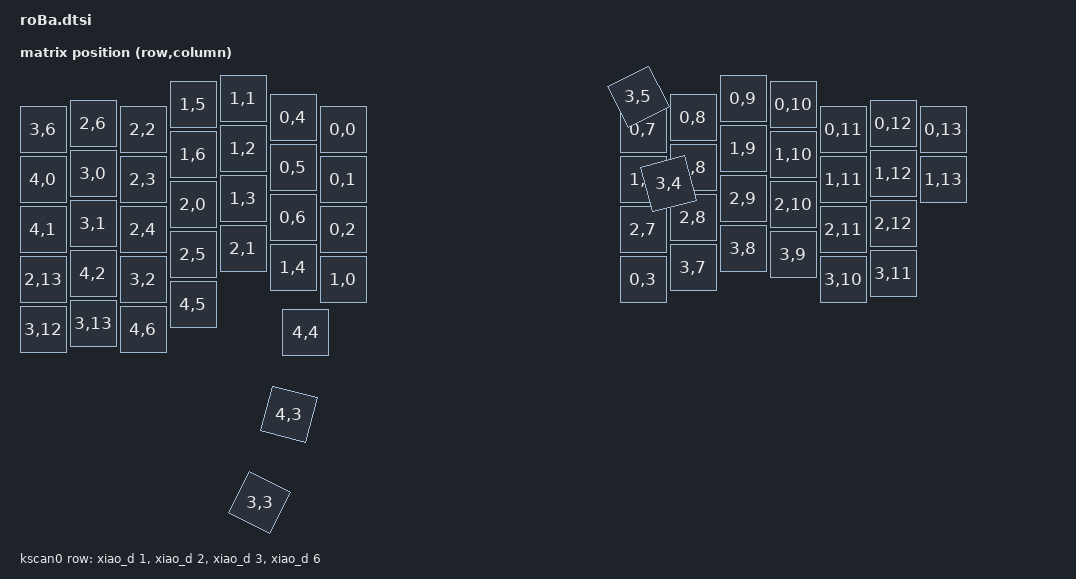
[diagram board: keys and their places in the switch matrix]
#include <dt-bindings/zmk/matrix_transform.h>
#include <physical_layouts.dtsi>

/ {
    chosen {
        zmk,physical-layout = &roba_physical_layout;
    };

    roba_physical_layout: roba_physical_layout {
        compatible = "zmk,physical-layout";
        display-name = "Default";
        transform = <&default_transform>;
        kscan = <&kscan0>;

                keys  //            w   h    x    y     rot    rx    ry
            = <&key_physical_attrs 100 100    0   62       0     0     0>
            , <&key_physical_attrs 100 100  100   50       0     0     0>
            , <&key_physical_attrs 100 100  200   62       0     0     0>
            , <&key_physical_attrs 100 100  300   12       0     0     0>
            , <&key_physical_attrs 100 100  400    0       0     0     0>
            , <&key_physical_attrs 100 100  500   38       0     0     0>
            , <&key_physical_attrs 100 100  600   62       0     0     0>
            , <&key_physical_attrs 100 100 1200   62       0     0     0>
            , <&key_physical_attrs 100 100 1300   38       0     0     0>
            , <&key_physical_attrs 100 100 1400    0       0     0     0>
            , <&key_physical_attrs 100 100 1500   12       0     0     0>
            , <&key_physical_attrs 100 100 1600   62       0     0     0>
            , <&key_physical_attrs 100 100 1700   50       0     0     0>
            , <&key_physical_attrs 100 100 1800   62       0     0     0>
            , <&key_physical_attrs 100 100    0  162       0     0     0>
            , <&key_physical_attrs 100 100  100  150       0     0     0>
            , <&key_physical_attrs 100 100  200  162       0     0     0>
            , <&key_physical_attrs 100 100  300  112       0     0     0>
            , <&key_physical_attrs 100 100  400  100       0     0     0>
            , <&key_physical_attrs 100 100  500  138       0     0     0>
            , <&key_physical_attrs 100 100  600  162       0     0     0>
            , <&key_physical_attrs 100 100 1200  162       0     0     0>
            , <&key_physical_attrs 100 100 1300  138       0     0     0>
            , <&key_physical_attrs 100 100 1400  100       0     0     0>
            , <&key_physical_attrs 100 100 1500  112       0     0     0>
            , <&key_physical_attrs 100 100 1600  162       0     0     0>
            , <&key_physical_attrs 100 100 1700  150       0     0     0>
            , <&key_physical_attrs 100 100 1800  162       0     0     0>
            , <&key_physical_attrs 100 100    0  262       0     0     0>
            , <&key_physical_attrs 100 100  100  250       0     0     0>
            , <&key_physical_attrs 100 100  200  262       0     0     0>
            , <&key_physical_attrs 100 100  300  212       0     0     0>
            , <&key_physical_attrs 100 100  400  200       0     0     0>
            , <&key_physical_attrs 100 100  500  238       0     0     0>
            , <&key_physical_attrs 100 100  600  262       0     0     0>
            , <&key_physical_attrs 100 100 1200  262       0     0     0>
            , <&key_physical_attrs 100 100 1300  238       0     0     0>
            , <&key_physical_attrs 100 100 1400  200       0     0     0>
            , <&key_physical_attrs 100 100 1500  212       0     0     0>
            , <&key_physical_attrs 100 100 1600  262       0     0     0>
            , <&key_physical_attrs 100 100 1700  250       0     0     0>
            , <&key_physical_attrs 100 100    0  362       0     0     0>
            , <&key_physical_attrs 100 100  100  350       0     0     0>
            , <&key_physical_attrs 100 100  200  362       0     0     0>
            , <&key_physical_attrs 100 100  300  312       0     0     0>
            , <&key_physical_attrs 100 100  400  300       0     0     0>
            , <&key_physical_attrs 100 100  500  338       0     0     0>
            , <&key_physical_attrs 100 100  600  362       0     0     0>
            , <&key_physical_attrs 100 100 1200  362       0     0     0>
            , <&key_physical_attrs 100 100 1300  338       0     0     0>
            , <&key_physical_attrs 100 100 1400  300       0     0     0>
            , <&key_physical_attrs 100 100 1500  312       0     0     0>
            , <&key_physical_attrs 100 100 1600  362       0     0     0>
            , <&key_physical_attrs 100 100 1700  350       0     0     0>
            , <&key_physical_attrs 100 100    0  462       0     0     0>
            , <&key_physical_attrs 100 100  100  450       0     0     0>
            , <&key_physical_attrs 100 100  200  462       0     0     0>
            , <&key_physical_attrs 100 100  300  412       0     0     0>
            , <&key_physical_attrs 100 100  525  468       0     0     0>
            , <&key_physical_attrs 100 100  650  468    1500     0     0>
            , <&key_physical_attrs 100 100  770  495    2700     0     0>
            , <&key_physical_attrs 100 100 1150  500 (-1500)     0     0>
            , <&key_physical_attrs 100 100 1034  555 (-2700)     0     0>
            ;
    };



    default_transform: keymap_transform_0 {
        compatible = "zmk,matrix-transform";
        columns = <14>;
        rows = <5>;
        map = <
            RC(3,6) RC(2,6) RC(2,2) RC(1,5) RC(1,1) RC(0,4)  RC(0,0)       RC(0,7) RC(0,8) RC(0,9) RC(0,10) RC(0,11) RC(0,12) RC(0,13) 
            RC(4,0) RC(3,0) RC(2,3) RC(1,6) RC(1,2) RC(0,5)  RC(0,1)       RC(1,7) RC(1,8) RC(1,9) RC(1,10) RC(1,11) RC(1,12) RC(1,13)
            RC(4,1) RC(3,1) RC(2,4) RC(2,0) RC(1,3) RC(0,6)  RC(0,2)       RC(2,7) RC(2,8) RC(2,9) RC(2,10) RC(2,11) RC(2,12) RC(2,13)
            RC(4,2) RC(3,2) RC(2,5) RC(2,1) RC(1,4) RC(1,0)  RC(0,3)       RC(3,7) RC(3,8) RC(3,9) RC(3,10) RC(3,11) RC(3,12) RC(3,13)
            RC(4,6) RC(4,5) RC(4,4) RC(4,3) RC(3,3) RC(3,4)  RC(3,5)                                                          
        >;
    };

    kscan0: kscan {
        compatible = "zmk,kscan-gpio-matrix";
        label = "KSCAN";
        diode-direction = "col2row";
            row-gpios
                = <&xiao_d 1 (GPIO_ACTIVE_HIGH | GPIO_PULL_DOWN)>
                , <&xiao_d 2 (GPIO_ACTIVE_HIGH | GPIO_PULL_DOWN)>
                , <&xiao_d 3 (GPIO_ACTIVE_HIGH | GPIO_PULL_DOWN)>
                , <&xiao_d 6 (GPIO_ACTIVE_HIGH | GPIO_PULL_DOWN)>
                ;
    };

   

   

    trackball_listener: trackball_listener {
        compatible = "zmk,input-listener";
        status = "disabled";
    };
};
&spi0 {
    status = "disabled";

    trackball: trackball@0 {
        status = "disabled";
        reg = <0>;
    };
};
